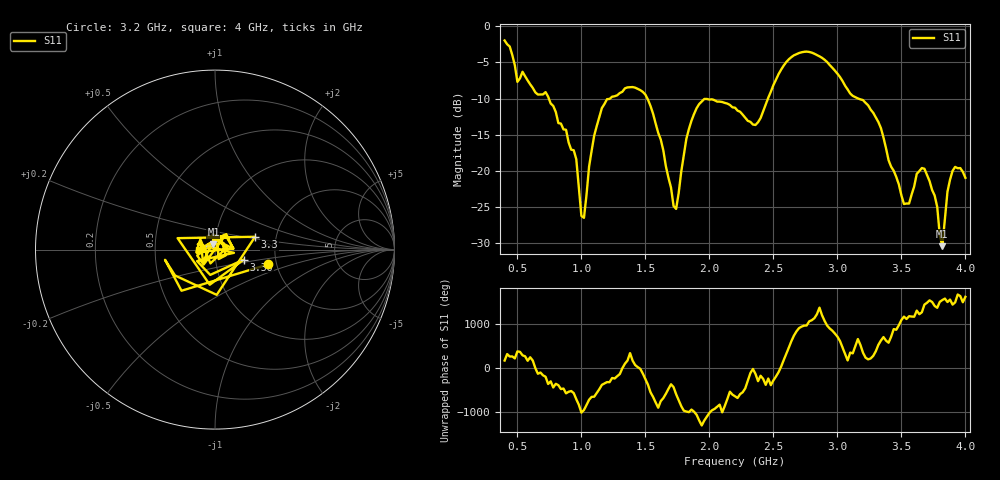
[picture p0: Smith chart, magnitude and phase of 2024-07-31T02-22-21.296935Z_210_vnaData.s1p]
!Created with skrf (http://scikit-rf.org).
# Hz S RI R 50.0
!freq ReS11 ImS11
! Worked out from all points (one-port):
!   181 points, 400 MHz to 4 GHz, reference 50 ohm
!   lowest |S11| = -30.4 dB at 3.82 GHz (marker M1), VSWR 1.06, Z = 49 + j2.84 ohm
!   |S11| at or under -10 dB: 745.7 MHz to 1.223 GHz (477.1 MHz wide, 48.5 % of centre); 1.516 GHz to 2.458 GHz (941.7 MHz wide, 47.4 % of centre); 3.164 GHz to end of sweep
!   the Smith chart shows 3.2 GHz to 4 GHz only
!   S11 on the Smith chart (normalised r, x): 3.2 GHz: 1.81, -0.33; 3.3 GHz: 1.55, +0.24; 3.36 GHz: 1.37, -0.16; 4 GHz: 0.84, -0.00
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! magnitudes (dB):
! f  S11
! 400 MHz  -2.0
! 500 MHz  -7.7
! 720 MHz  -9.1
! 860 MHz  -14.3
! 960 MHz  -18.4
! 1 GHz  -26.2
! 1.02 GHz  -26.5
! 1.06 GHz  -19.4
! 1.14 GHz  -12.5
! 1.3 GHz  -9.2
! 1.5 GHz  -9.5
! 1.72 GHz  -24.8
! 1.76 GHz  -23.0
! 1.82 GHz  -15.6
! 1.92 GHz  -10.8
! 2.2 GHz  -11.3
! 2.36 GHz  -13.6
! 2.66 GHz  -4.0
! 3.1 GHz  -9.3
! 3.2 GHz  -10.2
! 3.3 GHz  -12.6
! 3.36 GHz  -15.4
! 3.56 GHz  -24.5
! 3.68 GHz  -19.7
! 3.76 GHz  -23.4
! 3.82 GHz  -30.4
! 3.9 GHz  -20.0
! 4 GHz  -20.9
